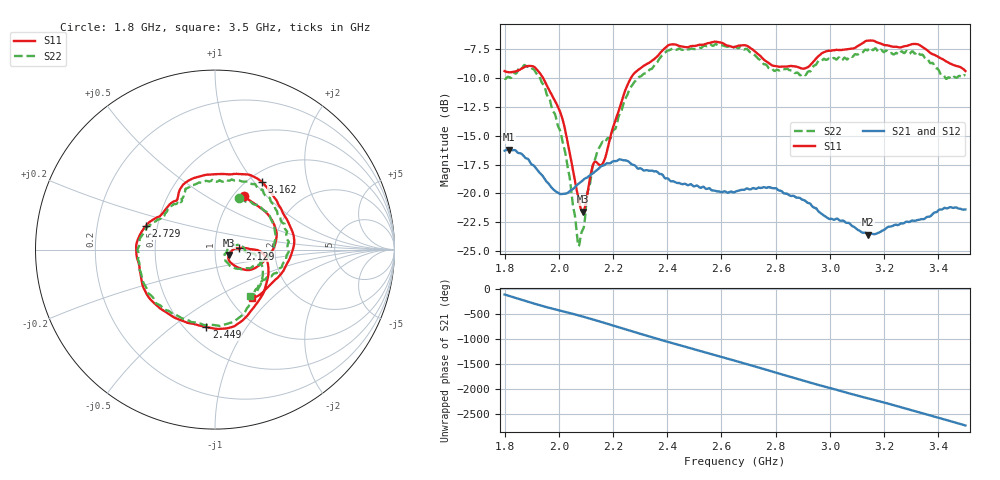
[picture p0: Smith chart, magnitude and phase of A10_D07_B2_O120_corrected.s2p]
! Created with skrf 1.9.0 (http://scikit-rf.org).
# Hz S RI R 50.0
!freq ReS11 ImS11 ReS21 ImS21 ReS12 ImS12 ReS22 ImS22
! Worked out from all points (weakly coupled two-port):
!   1601 points, 1.8 GHz to 3.5 GHz, reference 50 ohm
!   highest |S21| = -16.20 dB at 1.815 GHz (marker M1); lowest = -23.6 dB at 3.141 GHz (marker M2)
!   lowest |S11| = -21.6 dB at 2.089 GHz (marker M3), VSWR 1.18, Z = 58.3 - j3.49 ohm
!   |S11| at or under -10 dB: 1.942 GHz to 2.266 GHz (323.4 MHz wide, 15.4 % of centre)
!   |S22| runs from -24.6 to -7.0 dB; largest |S21 - S12| = 0.003
!   S11 on the Smith chart (normalised r, x): 1.8 GHz: 1.12, +0.75; 2.129 GHz: 1.31, +0.02; 2.449 GHz: 0.63, -0.67; 2.729 GHz: 0.43, +0.13; 3.162 GHz: 1.15, +1.10; 3.5 GHz: 1.27, -0.77
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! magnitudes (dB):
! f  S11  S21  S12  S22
! 1.8 GHz  -9.4  -16.3  -16.3  -10.0
! 1.815 GHz  -9.5  -16.2  -16.2  -9.9
! 1.88 GHz  -9.0  -17.0  -17.0  -9.0
! 1.943 GHz  -10.0  -18.6  -18.6  -10.6
! 2.013 GHz  -13.5  -20.0  -20.1  -15.4
! 2.069 GHz  -20.0  -19.2  -19.3  -24.1
! 2.084 GHz  -21.5  -19.0  -18.9  -23.4
! 2.089 GHz  -21.6  -18.9  -18.9  -23.1
! 2.129 GHz  -17.4  -18.2  -18.2  -17.3
! 2.167 GHz  -17.2  -17.6  -17.6  -15.6
! 2.268 GHz  -9.9  -17.4  -17.4  -10.7
! 2.367 GHz  -8.0  -18.2  -18.2  -8.5
! 2.449 GHz  -7.2  -19.1  -19.2  -7.5
! 2.65 GHz  -7.3  -19.9  -19.8  -7.3
! 2.729 GHz  -7.8  -19.6  -19.6  -8.1
! 2.934 GHz  -8.7  -21.1  -21.1  -9.2
! 3.141 GHz  -6.8  -23.6  -23.5  -7.5
! 3.162 GHz  -6.8  -23.5  -23.5  -7.5
! 3.217 GHz  -7.2  -22.9  -22.9  -7.8
! 3.325 GHz  -7.1  -22.3  -22.3  -7.7
! 3.428 GHz  -8.5  -21.3  -21.3  -10.0
! 3.5 GHz  -9.4  -21.4  -21.4  -9.8
